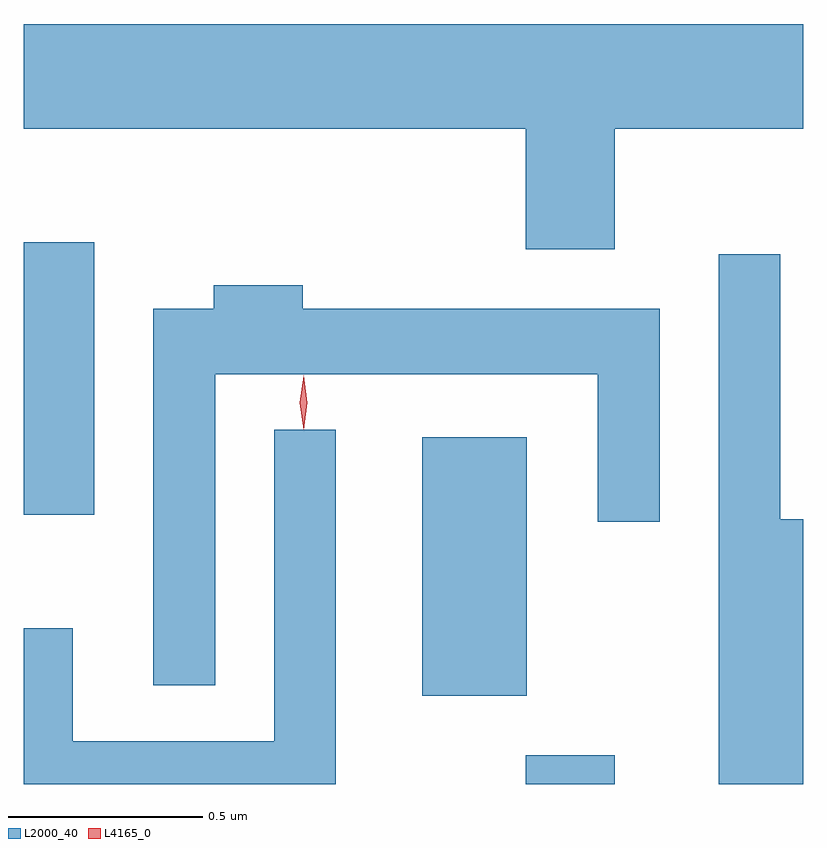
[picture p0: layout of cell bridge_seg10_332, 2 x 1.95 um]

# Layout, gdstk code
import gdstk
lib = gdstk.Library(unit=1e-6, precision=1e-09)
def R(c, l, rs):  # rectangles x0, y0, x1, y1
    for r in rs: c.add(gdstk.rectangle(r[:2], r[2:], *l))
def P(c, l, *ps):  # polygons
    for p in ps: c.add(gdstk.Polygon(p, *l))
L2000_40 = (2000, 40)
L4165_0 = (4165, 0)

bridge_seg10_332 = lib.new_cell('bridge_seg10_332')
R(bridge_seg10_332, L2000_40, [(1387.681,2167.735,1387.909,2167.809), (1387.416,2167.961,1387.684,2168.624), (1386.393,2168.426,1386.574,2169.124)])
P(bridge_seg10_332, L2000_40, [(1387.909,2169.416),(1388.393,2169.416),(1388.393,2169.684),(1386.393,2169.684),(1386.393,2169.416),(1387.681,2169.416),(1387.681,2169.106),(1387.909,2169.106)],
  [(1388.393,2168.414),(1388.334,2168.414),(1388.334,2169.093),(1388.176,2169.093),(1388.176,2167.735),(1388.393,2167.735)],
  [(1386.884,2168.786),(1387.866,2168.786),(1387.866,2168.408),(1388.024,2168.408),(1388.024,2168.954),(1387.109,2168.954),(1387.109,2169.014),(1386.881,2169.014),(1386.881,2168.954),(1386.726,2168.954),(1386.726,2167.988),(1386.884,2167.988)],
  [(1387.194,2168.643),(1387.036,2168.643),(1387.036,2167.844),(1386.519,2167.844),(1386.519,2168.134),(1386.393,2168.134),(1386.393,2167.735),(1387.194,2167.735)])
P(bridge_seg10_332, L4165_0, [(1387.111,2168.644),(1387.101,2168.713),(1387.111,2168.782),(1387.111,2168.783),(1387.112,2168.782),(1387.121,2168.713),(1387.112,2168.644),(1387.112,2168.644)])

lib.write_gds('bridge_seg10_332.gds')
